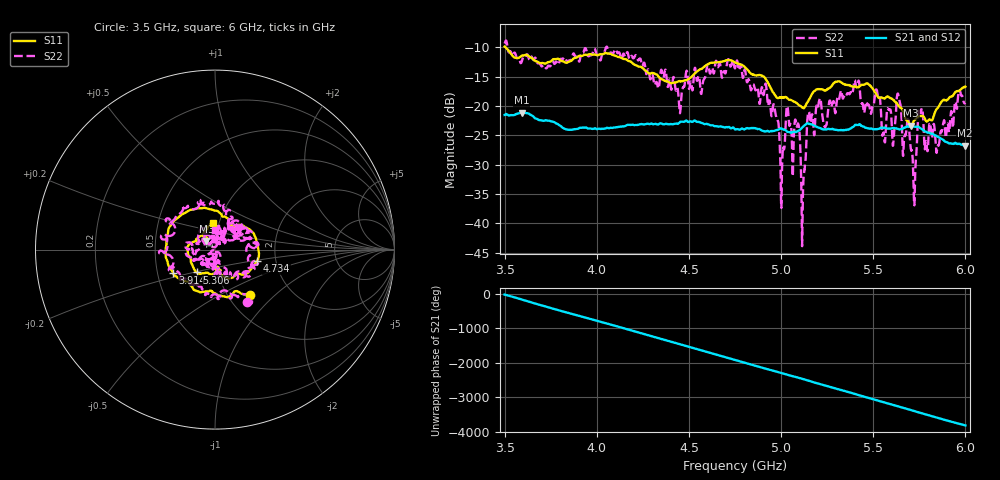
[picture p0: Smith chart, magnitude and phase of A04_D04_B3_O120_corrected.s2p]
! Created with skrf 1.9.0 (http://scikit-rf.org).
# Hz S RI R 50.0
!freq ReS11 ImS11 ReS21 ImS21 ReS12 ImS12 ReS22 ImS22
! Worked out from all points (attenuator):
!   1601 points, 3.5 GHz to 6 GHz, reference 50 ohm
!   highest |S21| = -21.13 dB at 3.592 GHz (marker M1); lowest = -26.8 dB at 5.997 GHz (marker M2)
!   lowest |S11| = -23.4 dB at 5.705 GHz (marker M3), VSWR 1.15, Z = 45.2 + j4.4 ohm
!   |S11| at or under -10 dB: 3.507 GHz to end of sweep
!   |S22| runs from -43.9 to -8.8 dB; largest |S21 - S12| = 0.0012
!   S11 on the Smith chart (normalised r, x): 3.5 GHz: 1.27, -0.72; 3.914 GHz: 0.60, -0.17; 4.734 GHz: 1.60, -0.21; 5.306 GHz: 0.79, -0.21; 6 GHz: 0.94, +0.28
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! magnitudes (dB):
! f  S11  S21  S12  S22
! 3.5 GHz  -9.9  -21.5  -21.5  -9.3
! 3.592 GHz  -11.4  -21.1  -21.1  -12.5
! 3.914 GHz  -11.4  -23.7  -23.6  -11.2
! 3.917 GHz  -11.5  -23.7  -23.7  -10.9
! 4.334 GHz  -14.9  -23.2  -23.1  -17.0
! 4.734 GHz  -12.3  -23.7  -23.7  -12.6
! 4.75 GHz  -12.6  -24.0  -23.9  -13.6
! 4.912 GHz  -15.2  -24.3  -24.3  -16.5
! 5.005 GHz  -18.5  -23.9  -23.8  -31.2
! 5.036 GHz  -18.7  -24.4  -24.3  -20.2
! 5.086 GHz  -19.5  -24.4  -24.3  -23.5
! 5.119 GHz  -20.3  -23.5  -23.4  -34.6
! 5.167 GHz  -18.0  -23.1  -23.1  -21.5
! 5.306 GHz  -15.8  -24.1  -24.0  -18.5
! 5.584 GHz  -18.5  -23.8  -23.8  -20.6
! 5.639 GHz  -20.0  -24.0  -23.9  -18.5
! 5.705 GHz  -23.4  -23.5  -23.5  -27.3
! 5.723 GHz  -22.4  -23.5  -23.4  -36.9
! 5.756 GHz  -21.7  -23.8  -23.7  -21.2
! 5.85 GHz  -20.3  -25.3  -25.1  -26.8
! 5.997 GHz  -16.7  -26.8  -26.7  -19.5
! 6 GHz  -16.7  -26.7  -26.6  -19.4
